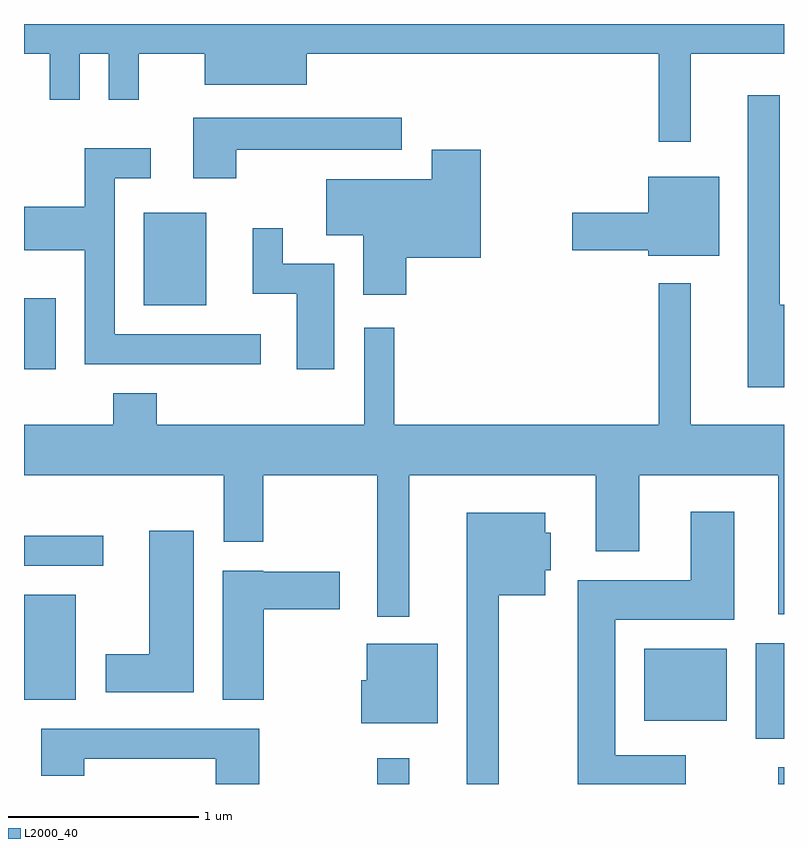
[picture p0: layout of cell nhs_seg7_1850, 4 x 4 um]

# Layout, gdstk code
import gdstk
lib = gdstk.Library(unit=1e-6, precision=1e-09)
def R(c, l, rs):  # rectangles x0, y0, x1, y1
    for r in rs: c.add(gdstk.rectangle(r[:2], r[2:], *l))
def P(c, l, *ps):  # polygons
    for p in ps: c.add(gdstk.Polygon(p, *l))
L2000_40 = (2000, 40)

nhs_seg7_1850 = lib.new_cell('nhs_seg7_1850')
R(nhs_seg7_1850, L2000_40, [(243.471,1708.252,243.639,1708.388), (245.581,1708.252,245.611,1708.339), (245.461,1708.491,245.611,1708.994), (244.876,1708.586,245.309,1708.964), (241.611,1708.696,241.884,1709.249), (241.611,1709.401,242.028,1709.559), (241.611,1710.436,241.779,1710.809), (242.241,1710.771,242.569,1711.259)])
P(nhs_seg7_1850, L2000_40, [(245.119,1712.096),(245.611,1712.096),(245.611,1712.252),(241.611,1712.252),(241.611,1712.096),(241.746,1712.096),(241.746,1711.853),(241.904,1711.853),(241.904,1712.096),(242.056,1712.096),(242.056,1711.853),(242.214,1711.853),(242.214,1712.096),(242.561,1712.096),(242.561,1711.931),(243.099,1711.931),(243.099,1712.096),(244.951,1712.096),(244.951,1711.633),(245.119,1711.633)],
  [(245.611,1710.774),(245.589,1710.774),(245.589,1711.878),(245.421,1711.878),(245.421,1710.341),(245.611,1710.341)],
  [(242.729,1711.591),(243.598,1711.591),(243.598,1711.759),(242.501,1711.759),(242.501,1711.441),(242.729,1711.441)],
  [(242.858,1710.619),(242.089,1710.619),(242.089,1711.441),(242.278,1711.441),(242.278,1711.599),(241.931,1711.599),(241.931,1711.289),(241.611,1711.289),(241.611,1711.061),(241.931,1711.061),(241.931,1710.461),(242.858,1710.461)],
  [(243.624,1711.021),(244.014,1711.021),(244.014,1711.589),(243.756,1711.589),(243.756,1711.434),(243.201,1711.434),(243.201,1711.141),(243.396,1711.141),(243.396,1710.826),(243.624,1710.826)],
  [(245.269,1711.449),(244.896,1711.449),(244.896,1711.259),(244.496,1711.259),(244.496,1711.061),(244.896,1711.061),(244.896,1711.031),(245.269,1711.031)],
  [(243.244,1710.989),(242.974,1710.989),(242.974,1711.178),(242.816,1711.178),(242.816,1710.831),(243.046,1710.831),(243.046,1710.436),(243.244,1710.436)],
  [(243.639,1709.876),(244.621,1709.876),(244.621,1709.476),(244.849,1709.476),(244.849,1709.876),(245.581,1709.876),(245.581,1709.146),(245.611,1709.146),(245.611,1710.144),(245.119,1710.144),(245.119,1710.888),(244.951,1710.888),(244.951,1710.144),(243.559,1710.144),(243.559,1710.653),(243.401,1710.653),(243.401,1710.144),(242.309,1710.144),(242.309,1710.309),(242.081,1710.309),(242.081,1710.144),(241.611,1710.144),(241.611,1709.876),(242.661,1709.876),(242.661,1709.526),(242.869,1709.526),(242.869,1709.876),(243.471,1709.876),(243.471,1709.133),(243.639,1709.133)],
  [(245.094,1708.404),(244.724,1708.404),(244.724,1709.116),(245.349,1709.116),(245.349,1709.684),(245.121,1709.684),(245.121,1709.324),(244.526,1709.324),(244.526,1708.252),(245.094,1708.252)],
  [(244.109,1709.246),(244.354,1709.246),(244.354,1709.376),(244.384,1709.376),(244.384,1709.574),(244.354,1709.574),(244.354,1709.679),(243.941,1709.679),(243.941,1708.252),(244.109,1708.252)],
  [(242.504,1709.584),(242.271,1709.584),(242.271,1708.934),(242.041,1708.934),(242.041,1708.736),(242.504,1708.736)],
  [(242.874,1709.171),(243.274,1709.171),(243.274,1709.369),(242.87,1709.369),(242.87,1709.374),(242.656,1709.374),(242.656,1708.696),(242.874,1708.696)],
  [(243.789,1708.989),(243.416,1708.989),(243.416,1708.799),(243.386,1708.799),(243.386,1708.571),(243.789,1708.571)],
  [(242.849,1708.544),(241.701,1708.544),(241.701,1708.296),(241.929,1708.296),(241.929,1708.386),(242.621,1708.386),(242.621,1708.252),(242.849,1708.252)])

lib.write_gds('nhs_seg7_1850.gds')
